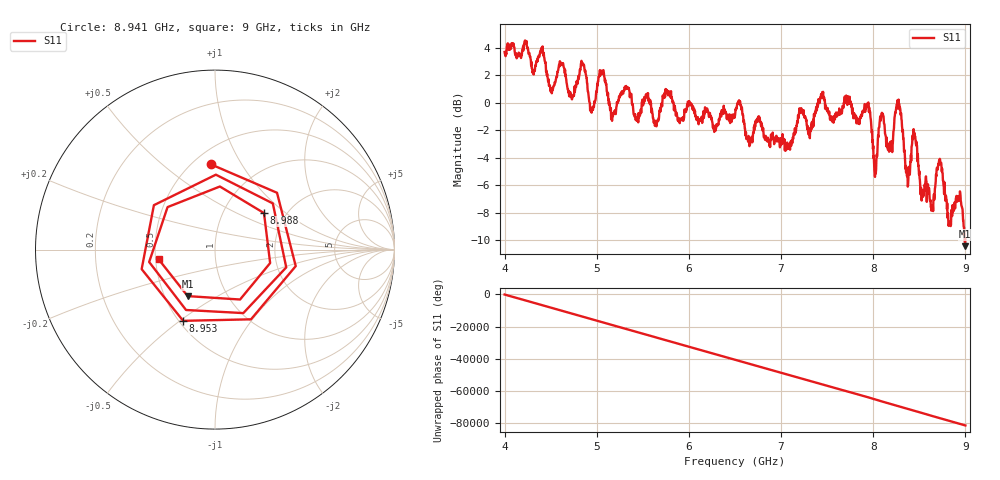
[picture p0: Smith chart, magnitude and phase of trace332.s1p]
! Created with skrf 1.8.0 (http://scikit-rf.org).
# Hz S RI R 50.0
!freq ReS11 ImS11
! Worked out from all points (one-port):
!   1601 points, 4 GHz to 9 GHz, reference 50 ohm
!   lowest |S11| = -10.4 dB at 8.997 GHz (marker M1), VSWR 1.86, Z = 32.6 - j18.6 ohm
!   |S11| at or under -10 dB: 8.990998 GHz to 8.99954 GHz (8.541 MHz wide, 0.095 % of centre)
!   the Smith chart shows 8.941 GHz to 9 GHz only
!   S11 on the Smith chart (normalised r, x): 8.941 GHz: 0.61, +0.75; 8.953 GHz: 0.53, -0.51; 8.988 GHz: 1.55, +0.71; 9 GHz: 0.52, -0.06
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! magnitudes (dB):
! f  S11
! 4 GHz  3.7
! 4.625 GHz  2.9
! 4.725 GHz  0.6
! 4.853 GHz  2.8
! 4.947 GHz  -0.4
! 5.053 GHz  2.3
! 5.162 GHz  -0.9
! 5.25 GHz  0.5
! 5.875 GHz  -1.0
! 6.5 GHz  -0.9
! 7.125 GHz  -2.8
! 7.75 GHz  0.0
! 7.944 GHz  0.0
! 8.022 GHz  -5.0
! 8.084 GHz  -1.1
! 8.184 GHz  -2.9
! 8.275 GHz  0.2
! 8.375 GHz  -6.1
! 8.45 GHz  -2.2
! 8.531 GHz  -6.6
! 8.641 GHz  -7.6
! 8.716 GHz  -4.2
! 8.825 GHz  -8.8
! 8.941 GHz  -6.5
! 8.953 GHz  -7.2
! 8.988 GHz  -9.4
! 8.997 GHz  -10.4
! 9 GHz  -9.9
